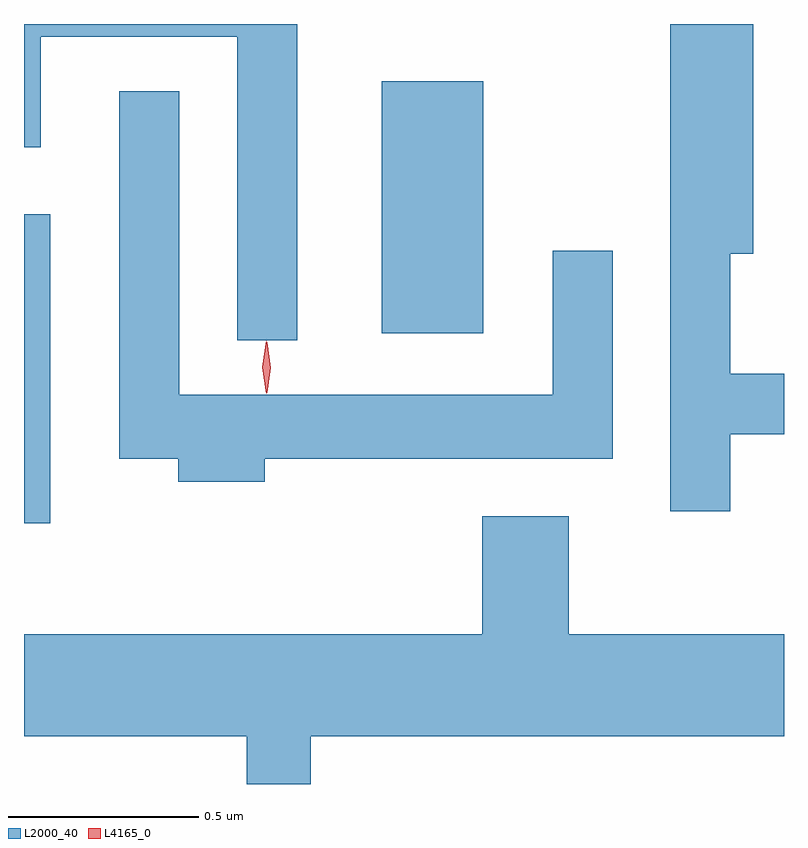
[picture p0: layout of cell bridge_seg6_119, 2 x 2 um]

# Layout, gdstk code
import gdstk
lib = gdstk.Library(unit=1e-6, precision=1e-09)
def R(c, l, rs):  # rectangles x0, y0, x1, y1
    for r in rs: c.add(gdstk.rectangle(r[:2], r[2:], *l))
def P(c, l, *ps):  # polygons
    for p in ps: c.add(gdstk.Polygon(p, *l))
L2000_40 = (2000, 40)
L4165_0 = (4165, 0)

bridge_seg6_119 = lib.new_cell('bridge_seg6_119')
R(bridge_seg6_119, L2000_40, [(1050.145,1606.096,1050.214,1606.909), (1051.086,1606.596,1051.354,1607.259)])
P(bridge_seg6_119, L2000_40, [(1050.864,1607.41),(1050.145,1607.41),(1050.145,1607.086),(1050.189,1607.086),(1050.189,1607.376),(1050.706,1607.376),(1050.706,1606.578),(1050.864,1606.578)],
  [(1052.004,1606.331),(1052.145,1606.331),(1052.145,1606.489),(1052.004,1606.489),(1052.004,1606.806),(1052.064,1606.806),(1052.064,1607.41),(1051.846,1607.41),(1051.846,1606.128),(1052.004,1606.128)],
  [(1050.779,1606.266),(1051.694,1606.266),(1051.694,1606.813),(1051.536,1606.813),(1051.536,1606.434),(1050.554,1606.434),(1050.554,1607.233),(1050.396,1607.233),(1050.396,1606.266),(1050.551,1606.266),(1050.551,1606.206),(1050.779,1606.206)],
  [(1050.899,1605.536),(1052.145,1605.536),(1052.145,1605.804),(1051.579,1605.804),(1051.579,1606.114),(1051.351,1606.114),(1051.351,1605.804),(1050.145,1605.804),(1050.145,1605.536),(1050.731,1605.536),(1050.731,1605.41),(1050.899,1605.41)])
P(bridge_seg6_119, L4165_0, [(1050.782,1606.437),(1050.782,1606.437),(1050.772,1606.507),(1050.782,1606.576),(1050.782,1606.576),(1050.783,1606.576),(1050.792,1606.507),(1050.783,1606.437)],
  [(1050.784,1606.439),(1050.784,1606.44),(1050.774,1606.506),(1050.784,1606.572),(1050.784,1606.573),(1050.785,1606.572),(1050.794,1606.506),(1050.785,1606.44)])

lib.write_gds('bridge_seg6_119.gds')
